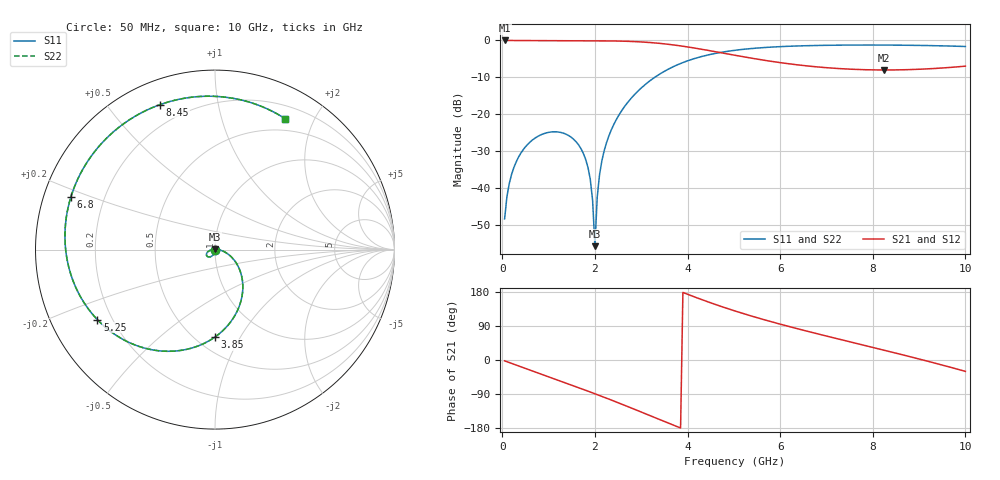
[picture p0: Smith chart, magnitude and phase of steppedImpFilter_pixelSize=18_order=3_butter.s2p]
! freq	dB(S11)	phase(S11)	dB(S12)	phase(S12)
!  dB(S21)	phase(S21)	dB(S22)	phase(S22)
!S-par simulation data
#  GHz  S  DB  R 50
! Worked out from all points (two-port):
!   200 points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, 50 MHz to 10 GHz, reference 50 ohm
!   highest |S21| = -0.01 dB at 50 MHz (marker M1); lowest = -8.0 dB at 8.25 GHz (marker M2)
!   |S21| within 3 dB of the highest: start of sweep to 4.579 GHz
!   lowest |S11| = -55.8 dB at 2 GHz (marker M3), VSWR 1.00, Z = 50 + j0.161 ohm
!   |S11| at or under -10 dB: start of sweep to 3.294 GHz
!   |S22| runs from -55.5 to -1.2 dB; largest |S21 - S12| = 0
!   S11 on the Smith chart (normalised r, x): 50 MHz: 1.00, -0.01; 3.85 GHz: 0.62, -0.79; 5.25 GHz: 0.14, -0.27; 6.8 GHz: 0.08, +0.18; 8.45 GHz: 0.11, +0.68; 10 GHz: 0.35, +1.62
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0.05  -48.42 -91.7  -0.01 -2.3  -0.01 -2.3  -48.42 -91.7
0.25  -34.49 -101.8  -0.02 -11.1  -0.02 -11.1  -34.49 -101.8
0.65  -27.04 -119.7  -0.04 -28.7  -0.04 -28.7  -27.04 -119.7
1.3  -25.10 -149.1  -0.07 -57.4  -0.07 -57.4  -25.10 -149.1
1.75  -30.65 -170.8  -0.09 -77.6  -0.09 -77.6  -30.65 -170.9
1.9  -37.69 179.0  -0.09 -84.4  -0.09 -84.4  -37.68 178.7
1.95  -43.36 171.1  -0.09 -86.7  -0.09 -86.7  -43.35 170.6
2  -55.84 85.0  -0.10 -89.0  -0.10 -89.0  -55.55 85.2
2.05  -42.51 8.4  -0.10 -91.4  -0.10 -91.4  -42.50 8.9
2.1  -36.41 0.7  -0.10 -93.7  -0.10 -93.7  -36.41 0.9
2.3  -25.95 -12.4  -0.13 -103.1  -0.13 -103.1  -25.95 -12.3
2.75  -16.18 -35.2  -0.26 -124.9  -0.26 -124.9  -16.18 -35.2
3.4  -9.13 -67.8  -0.80 -157.3  -0.80 -157.3  -9.13 -67.8
3.85  -6.26 -89.9  -1.48 -179.4  -1.48 -179.4  -6.26 -89.9
5.05  -2.63 -141.8  -4.08 128.4  -4.08 128.4  -2.63 -141.8
5.25  -2.35 -149.3  -4.53 120.8  -4.53 120.8  -2.35 -149.2
6.7  -1.39 163.0  -7.07 72.3  -7.07 72.3  -1.39 163.0
6.8  -1.36 160.0  -7.19 69.3  -7.19 69.3  -1.36 160.0
8.25  -1.26 116.9  -8.02 25.7  -8.02 25.7  -1.26 116.9
8.35  -1.26 113.9  -8.02 22.6  -8.02 22.6  -1.26 113.8
8.45  -1.27 110.8  -8.01 19.6  -8.01 19.6  -1.27 110.8
10  -1.65 61.7  -6.98 -30.0  -6.98 -30.0  -1.65 61.7
